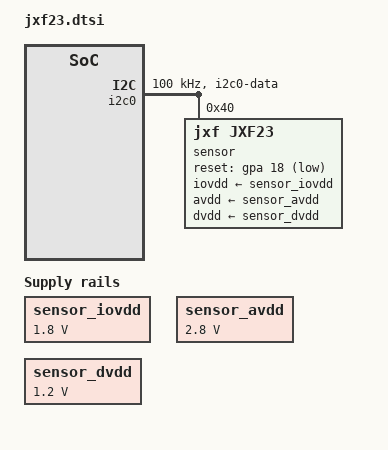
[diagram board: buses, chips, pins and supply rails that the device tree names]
// SPDX-License-Identifier: (GPL-2.0-only OR BSD-2-Clause)
/*
 * JX JXF23 wiring for the T20 Wyze Cam 2.
 *
 * The T20 variant is a 10-bit DVP sensor on I2C0 at 0x40, held in reset by
 * PA18. Board differences belong in the camera .dtsi as &sensor overrides.
 */

#include <dt-bindings/clock/ingenic,t31-cgu.h>
#include <dt-bindings/gpio/gpio.h>

/ {
	sensor_iovdd: sensor-iovdd {
		compatible = "regulator-fixed";
		regulator-name = "sensor-iovdd";
		regulator-min-microvolt = <1800000>;
		regulator-max-microvolt = <1800000>;
		regulator-always-on;
	};

	sensor_avdd: sensor-avdd {
		compatible = "regulator-fixed";
		regulator-name = "sensor-avdd";
		regulator-min-microvolt = <2800000>;
		regulator-max-microvolt = <2800000>;
		regulator-always-on;
	};

	sensor_dvdd: sensor-dvdd {
		compatible = "regulator-fixed";
		regulator-name = "sensor-dvdd";
		regulator-min-microvolt = <1200000>;
		regulator-max-microvolt = <1200000>;
		regulator-always-on;
	};
};

&i2c0 {
	compatible = "ingenic,t20-i2c";
	clock-frequency = <100000>;

	pinctrl-names = "default";
	pinctrl-0 = <&t20_i2c0_pins>;

	sensor: camera@40 {
		compatible = "jxf,jxf23";
		reg = <0x40>;

		reset-gpios = <&gpa 18 GPIO_ACTIVE_LOW>;

		clocks = <&cgu T31_CLK_CIM>;
		clock-names = "xclk";
		assigned-clocks = <&cgu T31_CLK_CIM>, <&cgu T31_CLK_ISP>;
		assigned-clock-rates = <24000000>, <100000000>;

		iovdd-supply = <&sensor_iovdd>;
		avdd-supply = <&sensor_avdd>;
		dvdd-supply = <&sensor_dvdd>;

		pinctrl-names = "default";
		pinctrl-0 = <&cim_pins>;

		port {
			sensor_ep: endpoint {
				bus-type = <5>; /* V4L2_MBUS_PARALLEL */
				bus-width = <10>;
				data-shift = <0>;
				hsync-active = <0>;
				vsync-active = <0>;
				pclk-sample = <1>;
			};
		};
	};
};

&pinctrl {
	t20_i2c0_pins: i2c0 {
		function = "i2c0";
		groups = "i2c0-data";
	};

	cim_pins: cim {
		function = "cim";
		groups = "cim-data-10bit", "cim-pclk", "cim-mclk", "cim-sync";
	};
};
